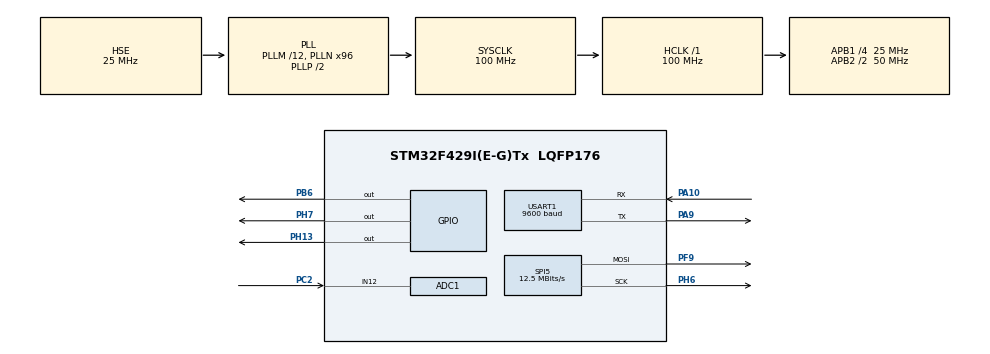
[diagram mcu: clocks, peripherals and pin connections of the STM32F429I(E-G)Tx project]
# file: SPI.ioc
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ADC1.Channel-0\#ChannelRegularConversion=ADC_CHANNEL_12
ADC1.ClockPrescaler=ADC_CLOCK_SYNC_PCLK_DIV4
ADC1.NbrOfConversionFlag=1
ADC1.Rank-0\#ChannelRegularConversion=1
ADC1.SamplingTime-0\#ChannelRegularConversion=ADC_SAMPLETIME_3CYCLES
ADC1.master=1
Mcu.Family=STM32F4
Mcu.Name=STM32F429I(E-G)Tx
Mcu.Package=LQFP176
NVIC.PriorityGroup=NVIC_PRIORITYGROUP_4
NVIC.TIM6_DAC_IRQn=true\:0\:0\:false\:false\:true\:true\:true\:true
PA10.Mode=Asynchronous
PA10.Signal=USART1_RX
PA13.Mode=Serial_Wire
PA13.Signal=SYS_JTMS-SWDIO
PA14.Mode=Serial_Wire
PA14.Signal=SYS_JTCK-SWCLK
PA9.Mode=Asynchronous
PA9.Signal=USART1_TX
PB6.Signal=GPIO_Output
PC2.Signal=ADCx_IN12
PF9.GPIO_PuPd=GPIO_PULLUP
PF9.Mode=TX_Only_Simplex_Unidirect_Master
PF9.Signal=SPI5_MOSI
PH0/OSC_IN.Mode=HSE-External-Oscillator
PH0/OSC_IN.Signal=RCC_OSC_IN
PH1/OSC_OUT.Mode=HSE-External-Oscillator
PH1/OSC_OUT.Signal=RCC_OSC_OUT
PH13.GPIO_PuPd=GPIO_PULLUP
PH13.GPIO_Speed=GPIO_SPEED_FREQ_VERY_HIGH
PH13.Signal=GPIO_Output
PH6.GPIO_PuPd=GPIO_PULLUP
PH6.Mode=TX_Only_Simplex_Unidirect_Master
PH6.Signal=SPI5_SCK
PH7.GPIO_PuPd=GPIO_PULLUP
PH7.GPIO_Speed=GPIO_SPEED_FREQ_VERY_HIGH
PH7.PinState=GPIO_PIN_SET
PH7.Signal=GPIO_Output
ProjectManager.HeapSize=0x200
ProjectManager.StackSize=0x400
ProjectManager.TargetToolchain=MDK-ARM V5.32
RCC.48MHZClocksFreq_Value=50000000
RCC.AHBFreq_Value=100000000
RCC.APB1CLKDivider=RCC_HCLK_DIV4
RCC.APB1Freq_Value=25000000
RCC.APB1TimFreq_Value=50000000
RCC.APB2CLKDivider=RCC_HCLK_DIV2
RCC.APB2Freq_Value=50000000
RCC.APB2TimFreq_Value=100000000
RCC.CortexFreq_Value=100000000
RCC.HCLKFreq_Value=100000000
RCC.HSE_VALUE=25000000
RCC.HSI_VALUE=16000000
RCC.LSE_VALUE=32768
RCC.PLLM=12
RCC.PLLN=96
RCC.PLLSourceVirtual=RCC_PLLSOURCE_HSE
RCC.SYSCLKFreq_VALUE=100000000
RCC.SYSCLKSource=RCC_SYSCLKSOURCE_PLLCLK
RCC.VCOOutputFreq_Value=200000000
SH.ADCx_IN12.0=ADC1_IN12,IN12
SPI5.BaudRatePrescaler=SPI_BAUDRATEPRESCALER_4
SPI5.CalculateBaudRate=12.5 MBits/s
SPI5.Direction=SPI_DIRECTION_2LINES
SPI5.Mode=SPI_MODE_MASTER
SPI5.VirtualType=VM_MASTER
TIM6.AutoReloadPreload=TIM_AUTORELOAD_PRELOAD_ENABLE
TIM6.Period=50000
USART1.BaudRate=9600
USART1.Mode=MODE_TX
USART1.VirtualMode=VM_ASYNC
VP_TIM6_VS_ClockSourceINT.Mode=Enable_Timer
board=custom

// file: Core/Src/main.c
/* USER CODE BEGIN Header */
/**
  ******************************************************************************
  * @file           : main.c
  * @brief          : Main program body
  ******************************************************************************
  * @attention
  *
  * Copyright (c) 2023 STMicroelectronics.
  * All rights reserved.
  *
  * This software is licensed under terms that can be found in the LICENSE file
  * in the root directory of this software component.
  * If no LICENSE file comes with this software, it is provided AS-IS.
  *
  ******************************************************************************
  */
/* USER CODE END Header */
#include "main.h"
#include "adc.h"
#include "spi.h"
#include "tim.h"
#include "usart.h"
#include "gpio.h"

/* USER CODE BEGIN Includes */
#include"delay.h"
#include"lcd.h"
#include"lcd_init.h"
#include"pic.h"
/* USER CODE END Includes */

void SystemClock_Config(void);

int main(void)
{

  /* MCU Configuration--------------------------------------------------------*/

  /* Reset of all peripherals, Initializes the Flash interface and the Systick. */
  HAL_Init();

  /* Configure the system clock */
  SystemClock_Config();

  /* Initialize all configured peripherals */
  MX_GPIO_Init();
  MX_SPI5_Init();
  MX_ADC1_Init();
  MX_TIM6_Init();
  MX_USART1_UART_Init();
  /* USER CODE BEGIN 2 */

	delay_init(180);
	LCD_Init();
	LCD_Fill(0,0,LCD_W,LCD_H,WHITE);
	LCD_DrawLine(5,65,5,235,BLACK);
	LCD_DrawLine(5,235,230,235,BLACK);

	LCD_ShowString(5,5,"MAX:",BLACK,WHITE,16,0);
	LCD_ShowString(85,5,"MIN:",BLACK,WHITE,16,0);
	LCD_ShowString(145,5,"heart rate:",BLACK,WHITE,16,0);

	HAL_TIM_Base_Start_IT( &htim6 );
  /* USER CODE END 2 */

  /* Infinite loop */
  while (1)
  {

    /* USER CODE BEGIN 3 */

//		LCD_ShowString(0,0,"you qing",RED,WHITE,32,0);
//		LCD_ShowString(80,50,"LED_W",RED,WHITE,16,0);
//		LCD_ShowIntNum(130,50,LCD_W,3,RED,WHITE,16);
//		LCD_ShowString(80,70,"LED_H",BLUE,BLACK,16,0);
//		LCD_ShowIntNum(130,70,LCD_H,3,BLUE,BLACK,16);
//		LCD_ShowChinese24x24(150,90,"中",RED,WHITE,24,0);
//		LCD_ShowChinese24x24(150,90+24,"电",RED,WHITE,24,0);
  }
  /* USER CODE END 3 */
}

void SystemClock_Config(void)
{
  RCC_OscInitTypeDef RCC_OscInitStruct = {0};
  RCC_ClkInitTypeDef RCC_ClkInitStruct = {0};

  /** Configure the main internal regulator output voltage
  */
  __HAL_RCC_PWR_CLK_ENABLE();
  __HAL_PWR_VOLTAGESCALING_CONFIG(PWR_REGULATOR_VOLTAGE_SCALE3);

  /** Initializes the RCC Oscillators according to the specified parameters
  * in the RCC_OscInitTypeDef structure.
  */
  RCC_OscInitStruct.OscillatorType = RCC_OSCILLATORTYPE_HSE;
  RCC_OscInitStruct.HSEState = RCC_HSE_ON;
  RCC_OscInitStruct.PLL.PLLState = RCC_PLL_ON;
  RCC_OscInitStruct.PLL.PLLSource = RCC_PLLSOURCE_HSE;
  RCC_OscInitStruct.PLL.PLLM = 12;
  RCC_OscInitStruct.PLL.PLLN = 96;
  RCC_OscInitStruct.PLL.PLLP = RCC_PLLP_DIV2;
  RCC_OscInitStruct.PLL.PLLQ = 4;
  if (HAL_RCC_OscConfig(&RCC_OscInitStruct) != HAL_OK)
  {
    Error_Handler();
  }

  /** Initializes the CPU, AHB and APB buses clocks
  */
  RCC_ClkInitStruct.ClockType = RCC_CLOCKTYPE_HCLK|RCC_CLOCKTYPE_SYSCLK
                              |RCC_CLOCKTYPE_PCLK1|RCC_CLOCKTYPE_PCLK2;
  RCC_ClkInitStruct.SYSCLKSource = RCC_SYSCLKSOURCE_PLLCLK;
  RCC_ClkInitStruct.AHBCLKDivider = RCC_SYSCLK_DIV1;
  RCC_ClkInitStruct.APB1CLKDivider = RCC_HCLK_DIV4;
  RCC_ClkInitStruct.APB2CLKDivider = RCC_HCLK_DIV2;

  if (HAL_RCC_ClockConfig(&RCC_ClkInitStruct, FLASH_LATENCY_3) != HAL_OK)
  {
    Error_Handler();
  }
}

/* USER CODE BEGIN 4 */
uint16_t Get_ADC_Value()
{
	HAL_ADC_Start( &hadc1 );
	return HAL_ADC_GetValue( &hadc1 );
}
/* USER CODE END 4 */

void Error_Handler(void)
{
  __disable_irq();
  while (1)
  {
  }
}
